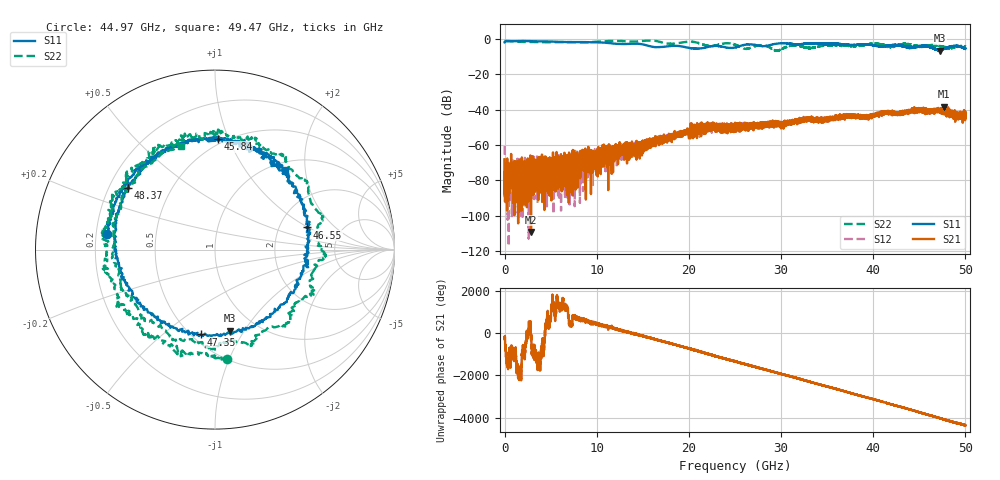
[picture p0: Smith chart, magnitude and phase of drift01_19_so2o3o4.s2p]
!Created with skrf (http://scikit-rf.org).
# Hz S RI R 50.0
!freq ReS11 ImS11 ReS21 ImS21 ReS12 ImS12 ReS22 ImS22
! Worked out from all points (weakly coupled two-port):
!   10001 points, 300 kHz to 50 GHz, reference 50 ohm
!   highest |S21| = -38.37 dB at 47.72 GHz (marker M1); lowest = -109.1 dB at 2.865 GHz (marker M2)
!   lowest |S11| = -6.7 dB at 47.21 GHz (marker M3), VSWR 2.70, Z = 37.6 - j43.2 ohm
!   |S11| at or under -10 dB: nowhere
!   |S22| runs from -6.9 to -1.0 dB; largest |S21 - S12| = 0.0038
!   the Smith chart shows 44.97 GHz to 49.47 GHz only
!   S11 on the Smith chart (normalised r, x): 44.97 GHz: 0.24, +0.07; 45.84 GHz: 0.46, +0.91; 46.55 GHz: 2.86, +0.98; 47.35 GHz: 0.56, -0.68; 48.37 GHz: 0.28, +0.29; 49.47 GHz: 1.15, +1.56
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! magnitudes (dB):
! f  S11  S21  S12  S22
! 300 kHz  -2.1  -68.1  -60.6  -1.3
! 255.3 MHz  -1.4  -71.7  -78.4  -1.4
! 2.865 GHz  -1.5  -109.1  -80.8  -2.0
! 5.355 GHz  -1.7  -73.8  -89.1  -2.0
! 8.335 GHz  -1.9  -66.4  -72.0  -2.1
! 16.67 GHz  -4.8  -57.7  -57.3  -1.6
! 21.99 GHz  -4.8  -50.1  -48.6  -4.0
! 25 GHz  -5.0  -50.6  -49.7  -3.4
! 28.09 GHz  -4.3  -48.7  -49.0  -3.8
! 29.52 GHz  -2.9  -46.9  -48.2  -6.7
! 31.29 GHz  -3.1  -47.2  -47.5  -4.0
! 33.34 GHz  -2.6  -45.5  -45.3  -5.3
! 41.67 GHz  -3.9  -40.8  -41.5  -4.5
! 44.97 GHz  -4.3  -39.8  -39.6  -4.2
! 45.84 GHz  -4.2  -42.0  -40.9  -4.2
! 46.55 GHz  -5.5  -41.4  -41.1  -3.8
! 47.21 GHz  -6.7  -39.9  -40.9  -4.5
! 47.35 GHz  -6.4  -40.0  -41.1  -4.7
! 47.72 GHz  -5.6  -38.4  -41.0  -5.1
! 48.37 GHz  -4.5  -41.0  -41.5  -5.5
! 49.47 GHz  -4.6  -43.3  -42.6  -4.3
! 50 GHz  -5.5  -44.7  -42.0  -4.3
